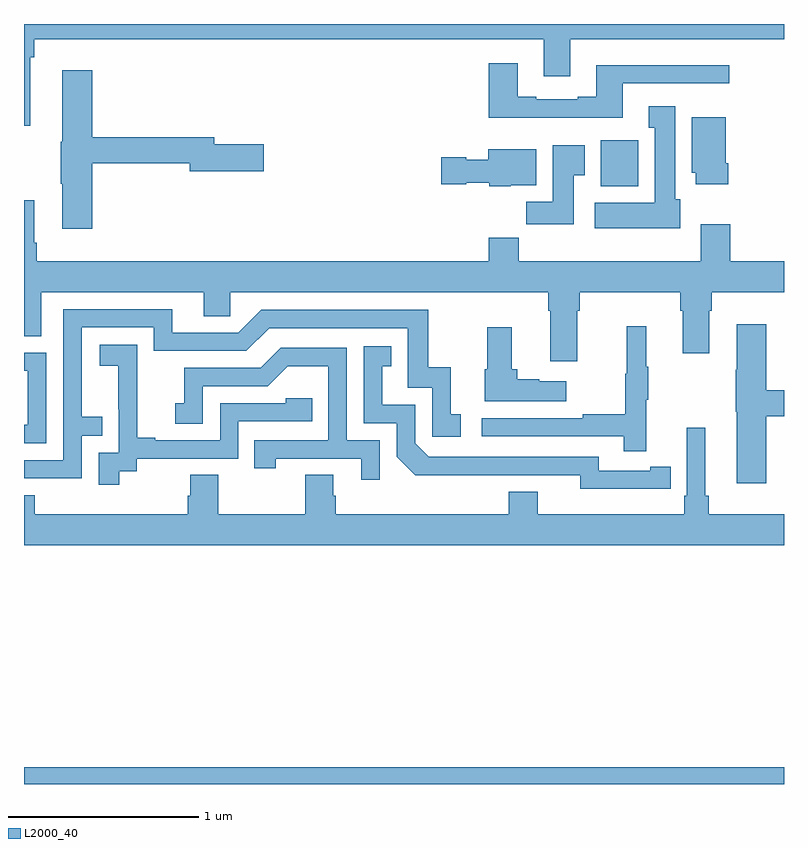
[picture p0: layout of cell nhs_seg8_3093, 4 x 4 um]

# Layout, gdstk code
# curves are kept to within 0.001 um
import gdstk
lib = gdstk.Library(unit=1e-6, precision=1e-09)
def R(c, l, rs):  # rectangles x0, y0, x1, y1
    for r in rs: c.add(gdstk.rectangle(r[:2], r[2:], *l))
def P(c, l, *ps):  # polygons
    for p in ps: c.add(gdstk.Polygon(p, *l))
L2000_40 = (2000, 40)

nhs_seg8_3093 = lib.new_cell('nhs_seg8_3093')
R(nhs_seg8_3093, L2000_40, [(303,1125.9,307,1125.988), (306.035,1129.046,306.232,1129.288)])
P(nhs_seg8_3093, L2000_40, [(303.034,1129.724),(303.053,1129.724),(303.053,1129.82),(305.735,1129.82),(305.735,1129.626),(305.875,1129.626),(305.875,1129.82),(307,1129.82),(307,1129.9),(303,1129.9),(303,1129.365),(303.034,1129.365)],
  [(306.151,1129.587),(306.712,1129.587),(306.712,1129.684),(306.011,1129.684),(306.011,1129.516),(305.915,1129.516),(305.915,1129.503),(305.695,1129.503),(305.695,1129.516),(305.599,1129.516),(305.599,1129.693),(305.447,1129.693),(305.447,1129.406),(306.151,1129.406)],
  [(303.359,1129.168),(303.872,1129.168),(303.872,1129.126),(304.261,1129.126),(304.261,1129.268),(304,1129.268),(304,1129.304),(303.359,1129.304),(303.359,1129.657),(303.2,1129.657),(303.2,1129.281),(303.193,1129.281),(303.193,1129.06),(303.2,1129.06),(303.2,1128.822),(303.359,1128.822)],
  [(306.454,1128.978),(306.427,1128.978),(306.427,1129.468),(306.287,1129.468),(306.287,1129.355),(306.32,1129.355),(306.32,1128.958),(306.003,1128.958),(306.003,1128.824),(306.454,1128.824)],
  [(306.707,1129.168),(306.694,1129.168),(306.694,1129.408),(306.515,1129.408),(306.515,1129.116),(306.536,1129.116),(306.536,1129.056),(306.707,1129.056)],
  [(305.893,1129.105),(305.95,1129.105),(305.95,1129.261),(305.783,1129.261),(305.783,1128.964),(305.644,1128.964),(305.644,1128.846),(305.893,1128.846)],
  [(305.562,1129.052),(305.695,1129.052),(305.695,1129.24),(305.444,1129.24),(305.444,1129.186),(305.328,1129.186),(305.328,1129.199),(305.196,1129.199),(305.196,1129.057),(305.328,1129.057),(305.328,1129.064),(305.448,1129.064),(305.448,1129.046),(305.562,1129.046)],
  [(305.911,1128.392),(305.924,1128.392),(305.924,1128.488),(306.455,1128.488),(306.455,1128.392),(306.467,1128.392),(306.467,1128.168),(306.607,1128.168),(306.607,1128.392),(306.62,1128.392),(306.62,1128.488),(307,1128.488),(307,1128.652),(306.716,1128.652),(306.716,1128.847),(306.563,1128.847),(306.563,1128.652),(305.603,1128.652),(305.603,1128.776),(305.447,1128.776),(305.447,1128.652),(303.068,1128.652),(303.068,1128.748),(303.055,1128.748),(303.055,1128.973),(303,1128.973),(303,1128.256),(303.091,1128.256),(303.091,1128.488),(303.947,1128.488),(303.947,1128.361),(304.086,1128.361),(304.086,1128.488),(305.759,1128.488),(305.759,1128.392),(305.771,1128.392),(305.771,1128.126),(305.911,1128.126)],
  [(303.303,1127.733),(303.413,1127.733),(303.413,1127.834),(303.303,1127.834),(303.303,1128.303),(303.684,1128.303),(303.684,1128.18),(304.17,1128.18),(304.29,1128.3),(305.019,1128.3),(305.019,1127.985),(305.148,1127.985),(305.148,1127.727),(305.299,1127.727),(305.299,1127.847),(305.246,1127.847),(305.246,1128.094),(305.128,1128.094),(305.128,1128.396),(304.248,1128.396),(304.128,1128.276),(303.781,1128.276),(303.781,1128.399),(303.207,1128.399),(303.207,1127.604),(303,1127.604),(303,1127.508),(303.303,1127.508)],
  [(306.906,1127.836),(307,1127.836),(307,1127.972),(306.906,1127.972),(306.906,1128.319),(306.752,1128.319),(306.752,1128.08),(306.745,1128.08),(306.745,1127.859),(306.752,1127.859),(306.752,1127.484),(306.906,1127.484)],
  [(306.275,1127.923),(306.286,1127.923),(306.286,1128.097),(306.275,1128.097),(306.275,1128.31),(306.172,1128.31),(306.172,1128.06),(306.165,1128.06),(306.165,1127.846),(305.941,1127.846),(305.941,1127.826),(305.409,1127.826),(305.409,1127.73),(306.157,1127.73),(306.157,1127.652),(306.275,1127.652)],
  [(305.854,1128.019),(305.711,1128.019),(305.711,1128.029),(305.597,1128.029),(305.597,1128.084),(305.566,1128.084),(305.566,1128.304),(305.437,1128.304),(305.437,1128.084),(305.426,1128.084),(305.426,1127.915),(305.854,1127.915)],
  [(303.502,1127.545),(303.594,1127.545),(303.594,1127.613),(304.128,1127.613),(304.128,1127.808),(304.517,1127.808),(304.517,1127.931),(304.377,1127.931),(304.377,1127.904),(304.032,1127.904),(304.032,1127.709),(303.691,1127.709),(303.691,1127.722),(303.596,1127.722),(303.596,1128.005),(303.597,1128.005),(303.597,1128.211),(303.399,1128.211),(303.399,1128.101),(303.497,1128.101),(303.497,1127.873),(303.498,1127.873),(303.498,1127.643),(303.393,1127.643),(303.393,1127.475),(303.502,1127.475)],
  [(306.296,1127.454),(306.404,1127.454),(306.404,1127.57),(306.296,1127.57),(306.296,1127.55),(306.024,1127.55),(306.024,1127.622),(305.13,1127.622),(305.058,1127.694),(305.058,1127.895),(304.885,1127.895),(304.885,1128.099),(304.934,1128.099),(304.934,1128.205),(304.788,1128.205),(304.788,1127.799),(304.962,1127.799),(304.962,1127.622),(305.06,1127.525),(305.928,1127.526),(305.928,1127.453)],
  [(304.872,1127.709),(304.698,1127.709),(304.698,1128.195),(304.352,1128.195),(304.247,1128.09),(303.844,1128.09),(303.844,1127.905),(303.795,1127.905),(303.795,1127.796),(303.942,1127.796),(303.942,1127.994),(304.284,1127.994),(304.388,1128.098),(304.602,1128.098),(304.602,1127.709),(304.213,1127.709),(304.213,1127.562),(304.324,1127.562),(304.324,1127.613),(304.775,1127.613),(304.775,1127.502),(304.872,1127.502)],
  [(303.117,1128.171),(303,1128.171),(303,1128.075),(303.021,1128.075),(303.021,1127.79),(303,1127.79),(303,1127.694),(303.117,1127.694)],
  [(307,1127.32),(306.605,1127.32),(306.605,1127.416),(306.586,1127.416),(306.586,1127.776),(306.489,1127.776),(306.489,1127.416),(306.476,1127.416),(306.476,1127.32),(305.704,1127.32),(305.704,1127.437),(305.552,1127.437),(305.552,1127.32),(304.64,1127.32),(304.64,1127.418),(304.627,1127.418),(304.627,1127.528),(304.48,1127.528),(304.48,1127.32),(304.023,1127.32),(304.023,1127.528),(303.875,1127.528),(303.875,1127.418),(303.863,1127.418),(303.863,1127.32),(303.056,1127.32),(303.056,1127.419),(303,1127.419),(303,1127.156),(307,1127.156)])

lib.write_gds('nhs_seg8_3093.gds')
